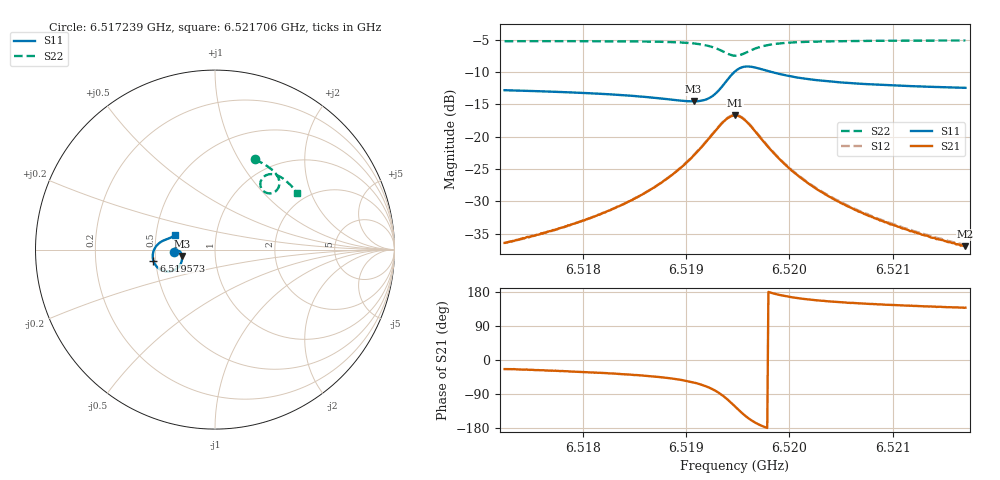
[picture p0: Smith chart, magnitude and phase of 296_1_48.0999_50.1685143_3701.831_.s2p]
#  HZ  S  RI  R  50.00
! Rohde & Schwarz Vector Network Analyzer
! Rohde-Schwarz,ZNB20-2Port,1311601062101988,3.16
! Created: UTC 12/23/2023, 4:04:16 AM
! freq[Hz]  re:S11  im:S11  re:S21  im:S21  re:S12  im:S12  re:S22  im:S22
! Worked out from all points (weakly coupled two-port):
!   401 points, 6.517239 GHz to 6.521706 GHz, reference 50 ohm
!   highest |S21| = -16.71 dB at 6.519472 GHz (marker M1); lowest = -36.9 dB at 6.521706 GHz (marker M2)
!   lowest |S11| = -14.5 dB at 6.51907 GHz (marker M3), VSWR 1.46, Z = 34.4 - j2.49 ohm
!   |S11| at or under -10 dB: start of sweep to 6.519465 GHz; 6.519832 GHz to end of sweep
!   |S22| runs from -7.5 to -5.1 dB; largest |S21 - S12| = 0.0045
!   S11 on the Smith chart (normalised r, x): 6.517239 GHz: 0.63, -0.02; 6.519573 GHz: 0.49, -0.07; 6.521706 GHz: 0.63, +0.11
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6.5172389e9  -0.2288 -0.012  0.0138 -0.00613  0.0139 -0.00558  0.2203 0.5027
6.5177079e9  -0.2228 -0.0058  0.0167 -0.00893  0.0168 -0.00843  0.2547 0.4865
6.5179871e9  -0.2183 -0.00287  0.0189 -0.0117  0.0193 -0.011  0.2753 0.4749
6.5184003e9  -0.2093 -0.00202  0.024 -0.0185  0.0247 -0.0177  0.3064 0.4542
6.5187353e9  -0.1983 -0.00765  0.0304 -0.0303  0.0313 -0.0293  0.3324 0.4304
6.5189028e9  -0.1911 -0.0166  0.0341 -0.0415  0.0356 -0.0407  0.3455 0.4133
6.5190703e9  -0.1843 -0.035  0.0365 -0.0613  0.0385 -0.0606  0.3566 0.3886
6.5191708e9  -0.1838 -0.0549  0.0335 -0.0805  0.0362 -0.0799  0.3589 0.3673
6.519249e9  -0.19 -0.0771  0.0244 -0.1004  0.0277 -0.1005  0.3541 0.3466
6.5193048e9  -0.2025 -0.0958  0.0106 -0.1162  0.0142 -0.1169  0.3439 0.3309
6.519383e9  -0.2375 -0.1188  -0.0242 -0.1333  -0.0204 -0.1351  0.3164 0.3145
6.5194723e9  -0.2988 -0.1146  -0.0786 -0.1231  -0.0758 -0.1265  0.2737 0.3234
6.519517e9  -0.3252 -0.0947  -0.0999 -0.1028  -0.0978 -0.1066  0.2586 0.3407
6.5195728e9  -0.3436 -0.0613  -0.1125 -0.0717  -0.1114 -0.0756  0.2526 0.3667
6.5196845e9  -0.3408 -0.00382  -0.1035 -0.0227  -0.1038 -0.0259  0.2702 0.4046
6.5197961e9  -0.3207 0.0271  -0.083 0.000537  -0.0836 -0.00184  0.2965 0.4186
6.5200083e9  -0.2895 0.0494  -0.0544 0.0134  -0.0554 0.0121  0.3345 0.4178
6.5202205e9  -0.2707 0.0574  -0.0387 0.0151  -0.0395 0.0143  0.3601 0.4078
6.5205778e9  -0.2524 0.0642  -0.0251 0.0139  -0.0257 0.0133  0.3907 0.3871
6.5209687e9  -0.2404 0.0696  -0.0175 0.0119  -0.0181 0.0116  0.4166 0.3636
6.5213707e9  -0.2314 0.075  -0.013 0.0104  -0.0136 0.0103  0.4392 0.3392
6.5217057e9  -0.2254 0.0795  -0.0106 0.00948  -0.011 0.00936  0.456 0.3181
